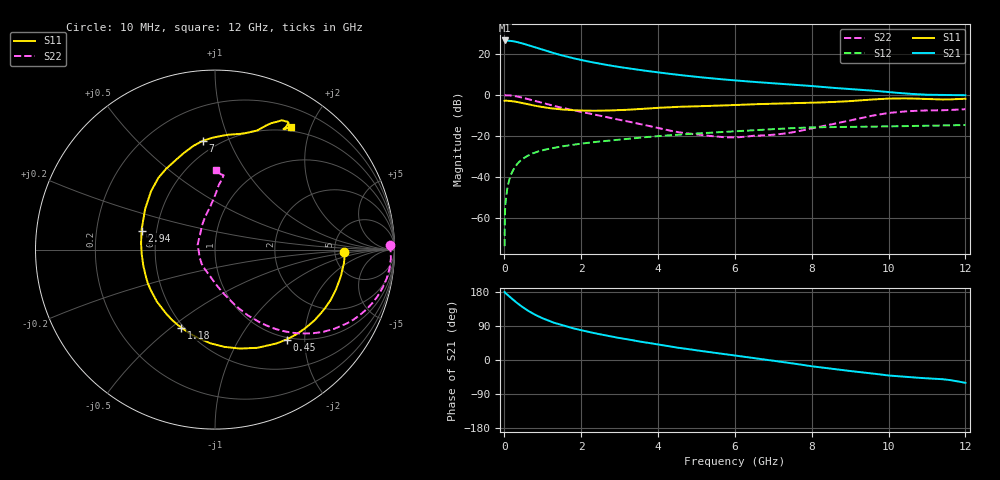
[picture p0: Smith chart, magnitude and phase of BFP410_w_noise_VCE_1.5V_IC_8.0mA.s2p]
! Infineon Technologies  Discrete & RF Semiconductors
! BFP410
! VCE =  1.5 V,  IC =  8.0 mA
! Common Emitter S-Parameters:  Nov 2015
# GHz  S  MA  R  50
!  f  S11  S21  S12  S22
! GHz  MAG  ANG  MAG  ANG  MAG  ANG  MAG  ANG
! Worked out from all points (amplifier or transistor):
!   243 points, 10 MHz to 12 GHz, reference 50 ohm
!   highest |S21| = 26.6 dB at 20 MHz (marker M1)
!   |S21| within 3 dB of that: start of sweep to 742.3 MHz
!   unconditionally stable (mu >= 1): start of sweep to 12 MHz; 2.574 GHz to end of sweep
!   at 240 MHz: K = 0.14, MSG = 31.3 dB, |S12| = -36.5 dB
!   at 1.84 GHz: K = 0.80, MSG = 21.0 dB, |S12| = -24.3 dB
!   at 12 GHz: K = 1.04, MAG = 6.0 dB, |S12| = -14.7 dB
!   lowest NFmin = 1.18 dB at 900 MHz
!   S11 on the Smith chart (normalised r, x): 10 MHz: 6.09, -0.32; 450 MHz: 0.96, -1.64; 1.18 GHz: 0.48, -0.54; 2.94 GHz: 0.41, +0.10; 7 GHz: 0.42, +0.81; 12 GHz: 0.44, +1.71
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0.01  0.7184 -1.0  21.23 179.5  0.0002 134.2  0.9777 1.5
0.02  0.7234 -2.0  21.4 177.9  0.0014 85.8  0.978 -0.6
0.145  0.7104 -17.3  20.97 166.7  0.0092 82.1  0.9707 -9.3
0.26  0.6891 -30.7  20.16 156.6  0.0161 76.0  0.9403 -16.4
0.36  0.6642 -41.9  19.31 148.5  0.0215 71.2  0.9032 -22.0
0.45  0.6402 -51.5  18.36 141.7  0.0259 67.3  0.8658 -26.7
0.6  0.5962 -66.6  16.69 131.1  0.0321 61.7  0.7972 -33.6
0.7  0.5685 -75.9  15.62 125.2  0.0357 58.8  0.7528 -37.7
0.9  0.5225 -92.8  13.6 114.6  0.0418 53.9  0.6698 -44.3
1.18  0.4738 -113.4  11.26 102.7  0.0485 49.3  0.5705 -51.6
1.34  0.4546 -123.6  10.17 96.9  0.0518 47.3  0.5238 -54.9
1.56  0.436 -136.0  8.945 90.1  0.056 45.3  0.4696 -58.8
2.02  0.4134 -158.5  7.069 78.3  0.0644 42.0  0.3829 -65.4
2.4  0.4089 -174.9  5.987 69.7  0.0711 39.4  0.3228 -70.6
2.94  0.422 165.7  4.888 59.2  0.0801 36.1  0.2525 -78.4
4.1  0.4863 135.8  3.453 39.3  0.0997 28.6  0.1475 -101.9
5  0.5265 121.1  2.757 25.5  0.1137 22.3  0.1082 -133.6
6.1  0.5699 106.6  2.221 10.5  0.1301 14.5  0.0922 -179.1
7  0.6104 96.3  1.921 -2.0  0.1452 7.7  0.106 148.7
8.2  0.6512 80.6  1.585 -19.0  0.1615 -4.7  0.1656 113.6
10.2  0.8147 61.5  1.128 -42.5  0.171 -19.8  0.3764 85.5
12  0.8052 58.1  0.98 -60.1  0.1837 -34.2  0.4462 89.4
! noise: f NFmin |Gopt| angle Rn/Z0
0.45  1.21  0.12  -6  0.18
0.9  1.18  0.11  12  0.17
1.8  1.32  0.04  55  0.17
2.4  1.3  0.01  -67  0.19
5.5  2.19  0.33  -117  0.24
10  3.37  0.67  -50  1.8
